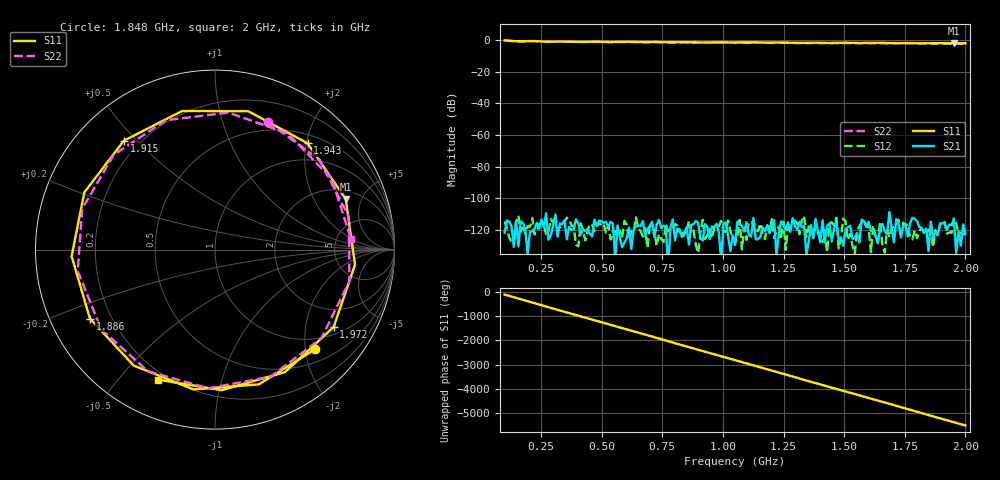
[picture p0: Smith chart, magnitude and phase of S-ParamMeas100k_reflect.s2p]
!Keysight Technologies,N5242B,MY48420967,A.15.65.19
!Date: Friday, December 16, 2022 21:56:52
!Correction: S11(C  2-Port  )
!S21(C  2-Port  )
!S12(C  2-Port  )
!S22(C  2-Port  )
!S2P File: Measurements: S11, S21, S12, S22:
# Hz S  dB  R 50
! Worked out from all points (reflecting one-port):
!   201 points, 100 MHz to 2 GHz, reference 50 ohm
!   lowest |S11| = -2.1 dB at 1.952 GHz (marker M1), VSWR 8.13, Z = 127 + j184 ohm
!   phase of S11 starts at -101 deg and turns -5413 deg over the sweep
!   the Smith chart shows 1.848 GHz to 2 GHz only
!   S11 on the Smith chart (normalised r, x): 1.848 GHz: 0.76, -2.21; 1.886 GHz: 0.12, -0.25; 1.915 GHz: 0.14, +0.46; 1.943 GHz: 0.65, +2.02; 1.972 GHz: 1.25, -2.87; 2 GHz: 0.17, -0.64
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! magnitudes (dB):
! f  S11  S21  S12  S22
! 100 MHz  -0.3  -121.8  -114.6  -0.3
! 157 MHz  -0.9  -130.5  -110.9  -0.9
! 214 MHz  -0.7  -120.9  -112.5  -0.7
! 290 MHz  -1.1  -123.6  -113.2  -1.1
! 347 MHz  -0.9  -113.8  -115.3  -0.9
! 423 MHz  -1.2  -120.0  -119.9  -1.3
! 736.5 MHz  -1.3  -113.7  -122.7  -1.4
! 784 MHz  -1.5  -118.2  -120.4  -1.6
! 841 MHz  -1.4  -123.1  -121.5  -1.5
! 907.5 MHz  -1.6  -125.5  -121.6  -1.7
! 1.05 GHz  -1.6  -129.6  -128.2  -1.8
! 1.107 GHz  -1.5  -123.2  -115.1  -1.7
! 1.373 GHz  -1.8  -125.2  -124.9  -1.9
! 1.639 GHz  -1.8  -128.4  -127.9  -2.0
! 1.687 GHz  -2.0  -108.7  -124.7  -2.1
! 1.848 GHz  -2.1  -133.4  -119.9  -2.3
! 1.886 GHz  -2.0  -123.4  -123.3  -2.3
! 1.915 GHz  -2.0  -116.2  -115.1  -2.2
! 1.943 GHz  -2.1  -116.8  -121.8  -2.2
! 1.952 GHz  -2.1  -113.4  -112.7  -2.2
! 1.972 GHz  -2.1  -120.9  -122.8  -2.3
! 2 GHz  -2.0  -122.4  -122.8  -2.4
